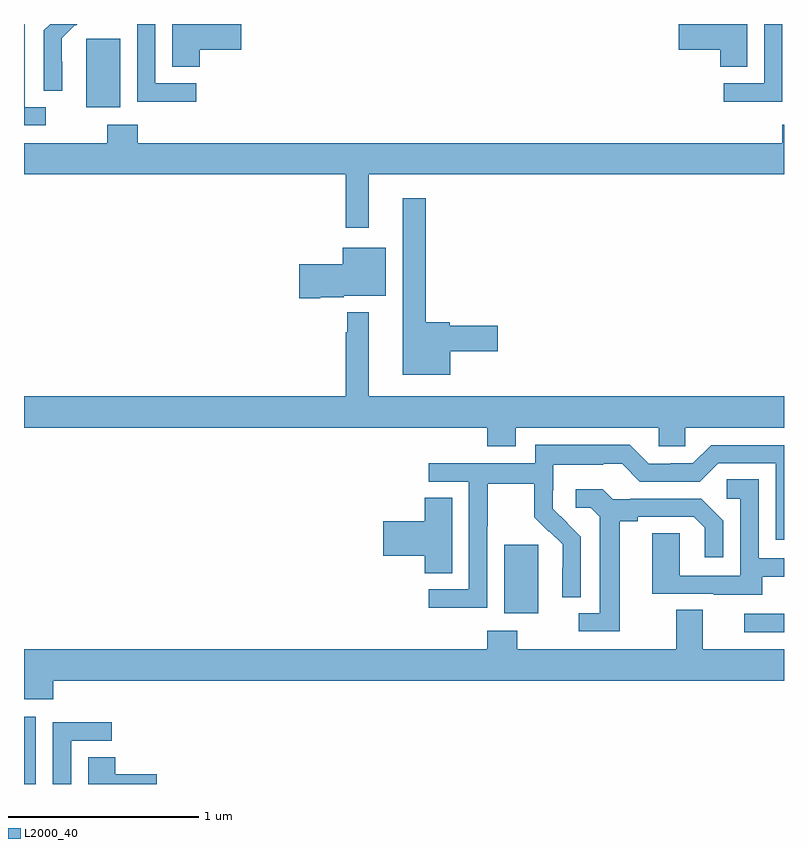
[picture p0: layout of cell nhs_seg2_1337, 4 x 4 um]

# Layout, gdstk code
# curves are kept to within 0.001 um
import gdstk
lib = gdstk.Library(unit=1e-6, precision=1e-09)
def R(c, l, rs):  # rectangles x0, y0, x1, y1
    for r in rs: c.add(gdstk.rectangle(r[:2], r[2:], *l))
def P(c, l, *ps):  # polygons
    for p in ps: c.add(gdstk.Polygon(p, *l))
L2000_40 = (2000, 40)

nhs_seg2_1337 = lib.new_cell('nhs_seg2_1337')
R(nhs_seg2_1337, L2000_40, [(181,605.8,181.063,606.154), (184.791,606.6,185,606.696), (183.527,606.698,183.706,607.059), (181.328,609.362,181.507,609.723)])
P(nhs_seg2_1337, L2000_40, [(181.925,609.665),(182.143,609.665),(182.143,609.8),(181.781,609.8),(181.781,609.574),(181.925,609.574)],
  [(181.906,609.489),(181.692,609.489),(181.692,609.8),(181.596,609.8),(181.596,609.391),(181.906,609.391)],
  [(184.992,609.8),(184.896,609.8),(184.896,609.489),(184.683,609.489),(184.683,609.391),(184.992,609.391)],
  [(181.114,609.363),(181.003,609.363),(181.003,609.8),(181,609.8),(181,609.267),(181.114,609.267)],
  [(184.807,609.8),(184.446,609.8),(184.446,609.665),(184.664,609.665),(184.664,609.574),(184.807,609.574)],
  [(181.2,609.602),(181.199,609.602),(181.199,609.725),(181.269,609.795),(181.272,609.792),(181.28,609.8),(181.138,609.8),(181.104,609.766),(181.104,609.448),(181.2,609.448)],
  [(182.815,609.008),(185,609.008),(185,609.271),(184.991,609.271),(184.991,609.172),(181.598,609.172),(181.598,609.271),(181.438,609.271),(181.438,609.172),(181,609.172),(181,609.008),(182.694,609.008),(182.694,608.727),(182.815,608.727)],
  [(183.244,608.078),(183.493,608.078),(183.493,608.213),(183.24,608.213),(183.24,608.231),(183.115,608.231),(183.115,608.884),(182.993,608.884),(182.993,607.955),(183.244,607.955)],
  [(182.56,608.363),(182.682,608.363),(182.682,608.369),(182.905,608.369),(182.905,608.623),(182.678,608.623),(182.678,608.535),(182.448,608.535),(182.448,608.357),(182.56,608.357)],
  [(182.701,608.284),(182.701,608.177),(182.694,608.177),(182.694,607.84),(181,607.84),(181,607.676),(183.437,607.676),(183.437,607.577),(183.589,607.577),(183.589,607.676),(184.341,607.676),(184.341,607.578),(184.479,607.578),(184.479,607.676),(185,607.676),(185,607.84),(182.815,607.84),(182.815,608.284)],
  [(183.438,607.156),(183.441,607.156),(183.441,607.38),(183.685,607.38),(183.685,607.205),(183.762,607.128),(183.765,607.131),(183.836,607.061),(183.836,606.938),(183.834,606.938),(183.834,606.784),(183.93,606.784),(183.93,607.102),(183.784,607.25),(183.784,607.347),(183.786,607.347),(183.786,607.481),(184.049,607.481),(184.049,607.485),(184.149,607.485),(184.242,607.392),(184.557,607.392),(184.653,607.488),(184.956,607.488),(184.956,607.086),(185,607.086),(185,607.584),(184.617,607.584),(184.521,607.488),(184.403,607.488),(184.403,607.485),(184.287,607.485),(184.187,607.585),(183.69,607.585),(183.69,607.488),(183.129,607.488),(183.129,607.392),(183.342,607.392),(183.342,606.825),(183.129,606.825),(183.129,606.727),(183.438,606.727)],
  [(184.885,606.891),(185,606.891),(185,606.987),(184.866,606.987),(184.866,607.403),(184.698,607.403),(184.698,607.302),(184.77,607.302),(184.77,606.897),(184.452,606.897),(184.452,607.121),(184.307,607.121),(184.307,606.801),(184.631,606.801),(184.631,606.797),(184.885,606.797)],
  [(184.135,607.184),(184.231,607.184),(184.231,607.206),(184.526,607.206),(184.583,607.149),(184.583,606.993),(184.68,606.993),(184.68,607.186),(184.564,607.302),(184.192,607.302),(184.192,607.299),(184.098,607.299),(184.046,607.351),(183.903,607.351),(183.903,607.254),(183.984,607.254),(184.031,607.207),(184.031,606.699),(183.921,606.699),(183.921,606.603),(184.135,606.603)],
  [(183.253,607.307),(183.11,607.307),(183.11,607.184),(182.892,607.184),(182.892,607.001),(183.11,607.001),(183.11,606.91),(183.253,606.91)],
  [(181.154,606.344),(185,606.344),(185,606.508),(184.573,606.508),(184.573,606.716),(184.433,606.716),(184.433,606.508),(183.597,606.508),(183.597,606.607),(183.437,606.607),(183.437,606.508),(181,606.508),(181,606.245),(181.154,606.245)],
  [(181.248,606.027),(181.462,606.027),(181.462,606.126),(181.152,606.126),(181.152,605.8),(181.248,605.8)],
  [(181.699,605.852),(181.481,605.852),(181.481,605.942),(181.337,605.942),(181.337,605.8),(181.699,605.8)])

lib.write_gds('nhs_seg2_1337.gds')
